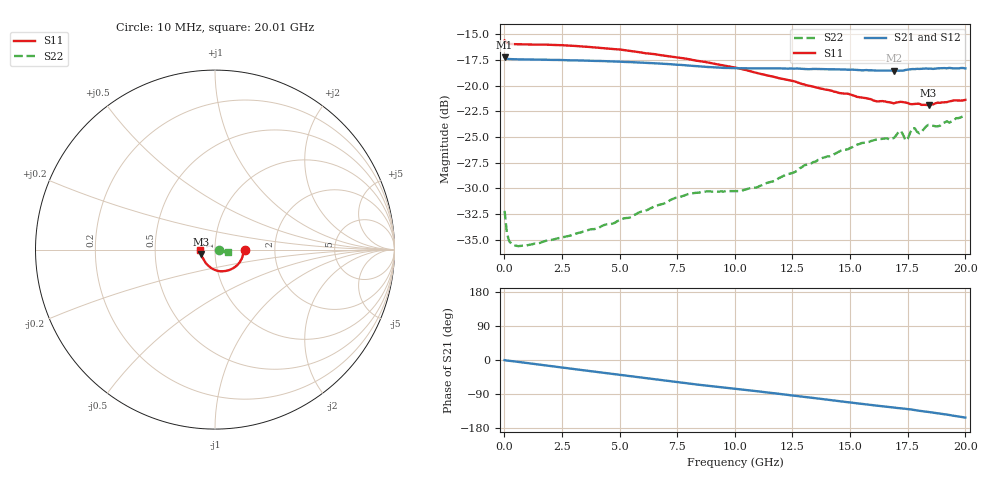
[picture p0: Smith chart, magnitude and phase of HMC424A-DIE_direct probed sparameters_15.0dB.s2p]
!s2p File: Measurements: S11, S21, S12, S22
# GHz S dB R 50.0
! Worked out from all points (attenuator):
!   201 points, 10 MHz to 20.01 GHz, reference 50 ohm
!   highest |S21| = -17.24 dB at 10 MHz (marker M1); lowest = -18.5 dB at 16.91 GHz (marker M2)
!   lowest |S11| = -21.9 dB at 18.41 GHz (marker M3), VSWR 1.17, Z = 42.9 - j2.36 ohm
!   |S11| at or under -10 dB: start of sweep to end of sweep
!   |S22| runs from -35.6 to -22.8 dB; largest |S21 - S12| = 0.001
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0.01  -15.60 -0.7  -17.24 -0.3  -17.24 -0.4  -32.18 -3.5
0.11  -15.84 -1.8  -17.37 -1.4  -17.36 -1.4  -34.36 -9.7
0.21  -15.92 -2.3  -17.41 -2.1  -17.40 -2.1  -35.14 -7.0
0.51  -15.97 -4.1  -17.43 -4.3  -17.43 -4.3  -35.58 -1.6
1.41  -16.01 -10.4  -17.46 -11.3  -17.46 -11.3  -35.38 4.6
3.41  -16.19 -25.5  -17.55 -26.9  -17.55 -26.9  -34.21 9.9
4.71  -16.45 -35.6  -17.64 -37.0  -17.65 -37.0  -33.42 10.8
6.71  -17.01 -51.2  -17.85 -52.5  -17.85 -52.5  -31.59 9.8
8.01  -17.42 -61.5  -18.05 -62.2  -18.05 -62.2  -30.52 5.4
10.01  -18.24 -78.9  -18.29 -75.9  -18.30 -75.8  -30.27 -0.5
11.71  -19.15 -94.0  -18.31 -87.8  -18.33 -87.7  -29.28 3.2
13.41  -20.09 -109.5  -18.37 -100.1  -18.39 -100.1  -27.43 1.6
15.51  -21.15 -129.7  -18.50 -115.7  -18.47 -115.5  -25.58 -5.8
16.71  -21.61 -142.8  -18.53 -124.2  -18.50 -124.2  -25.24 -10.3
16.91  -21.72 -144.4  -18.55 -125.6  -18.49 -125.5  -25.09 -8.9
17.21  -21.57 -147.3  -18.54 -127.6  -18.49 -127.7  -24.39 -13.3
17.41  -21.64 -149.8  -18.47 -128.7  -18.48 -129.1  -25.33 -13.2
17.71  -21.80 -152.2  -18.38 -131.2  -18.43 -131.4  -24.14 -10.4
18.01  -21.76 -155.8  -18.37 -134.0  -18.42 -133.8  -24.64 -12.2
18.41  -21.89 -160.2  -18.35 -137.2  -18.37 -137.1  -23.81 -12.1
18.91  -21.67 -165.7  -18.30 -141.5  -18.30 -141.2  -23.90 -11.6
20.01  -21.38 -178.9  -18.32 -151.9  -18.30 -151.8  -22.77 -11.8
